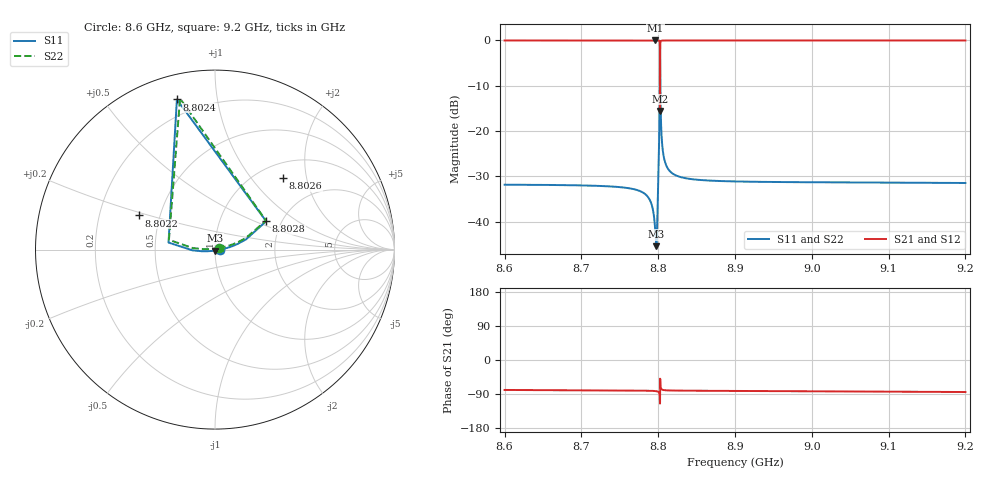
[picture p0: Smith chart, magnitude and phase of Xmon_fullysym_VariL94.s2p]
! Sonnet Data File
! From: emgraph Version : 16.52
! From Project: 171117_Xmon_fullysym
! Data is De-embedded
! Data File Written: 11/26/2017 21:44:46
!< HDATE 11/26/2017 17:24:49
!< MDATE 11/26/2017 17:24:49
!< PARAMS
!< Lj = 11.0
!< Gap = 1.0
!< Pwid = 2000.0
!< Airgap = 6.0
!< Width = 10.0
!< Lj1 = 9.4
!< END PARAMS
# GHZ S MA R 50.90000
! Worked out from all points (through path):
!   3001 points, 8.6 GHz to 9.2 GHz, reference 50.9 ohm
!   highest |S21| = 0.00 dB at 8.7962 GHz (marker M1); lowest = -15.5 dB at 8.8024 GHz (marker M2)
!   lowest |S11| = -45.4 dB at 8.7976 GHz (marker M3), VSWR 1.01, Z = 51 - j0.543 ohm
!   |S11| at or under -10 dB: start of sweep to 8.8021 GHz; 8.8028 GHz to end of sweep
!   |S22| runs from -45.1 to -1.3 dB; largest |S21 - S12| = 4.7e-11
!   S11 on the Smith chart (normalised r, x): 8.6 GHz: 1.05, -0.00; 8.8022 GHz: 0.38, +0.18; 8.8024 GHz: 0.12, +0.77; 8.8026 GHz: 1.28, +1.46; 8.8028 GHz: 1.67, +0.59; 9.2 GHz: 1.05, -0.01
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8.6  0.02559 -0.3  0.9997 -79.0  0.9997 -79.0  0.0256 22.3
!< P1 F=8.6 Eeff=(6.44845572 -2.9799e-5) Z0=(50.9087207 1.17006e-4) R=0.0 C=0.0
!< P2 F=8.6 Eeff=(6.44845572 -2.9799e-5) Z0=(50.9087207 1.17006e-4) R=0.0 C=0.0
8.7  0.02514 -1.7  0.9997 -80.0  0.9997 -80.0  0.02514 21.8
8.7792  0.02119 -5.3  0.9998 -80.9  0.9998 -80.9  0.02119 23.4
8.79  0.01671 -9.7  0.9998 -81.3  0.9998 -81.3  0.01672 27.3
8.7962  0.007897 -34.6  0.9999 -81.9  0.9999 -81.9  0.007984 51.4
8.7976  0.005368 -82.7  0.9999 -82.3  0.9999 -82.3  0.005576 98.1
8.7988  0.0102 -141.0  0.9998 -82.8  0.9998 -82.8  0.01039 153.7
8.8002  0.03096 -164.2  0.999 -84.1  0.999 -84.1  0.03113 174.4
8.8022  0.4663 155.9  0.8428 -110.0  0.8428 -110.0  0.4671 153.6
8.8024  0.8629 104.2  0.1671 -114.8  0.1671 -114.8  0.8643 103.0
8.8026  0.5478 46.5  0.7845 -49.3  0.7845 -49.3  0.5486 46.2
8.8028  0.326 29.0  0.9306 -63.3  0.9306 -63.3  0.3265 29.6
8.8046  0.08297 9.6  0.9961 -77.6  0.9961 -77.6  0.08304 15.9
8.8056  0.06523 7.3  0.9976 -78.6  0.9976 -78.6  0.06527 15.8
8.8066  0.05595 5.9  0.9983 -79.2  0.9983 -79.2  0.05598 16.0
8.8092  0.04462 3.7  0.9989 -79.8  0.9989 -79.8  0.04464 16.7
8.819  0.03388 0.7  0.9994 -80.6  0.9994 -80.6  0.03388 18.2
8.8434  0.02949 -1.2  0.9996 -81.0  0.9996 -81.0  0.02949 19.2
8.9002  0.0278 -2.7  0.9996 -81.7  0.9996 -81.7  0.0278 19.3
9.0002  0.02723 -4.1  0.9996 -82.6  0.9996 -82.6  0.02723 18.8
9.1  0.02702 -5.3  0.9996 -83.6  0.9996 -83.6  0.02702 18.2
9.2  0.02673 -6.6  0.9996 -84.5  0.9996 -84.5  0.02673 17.6
